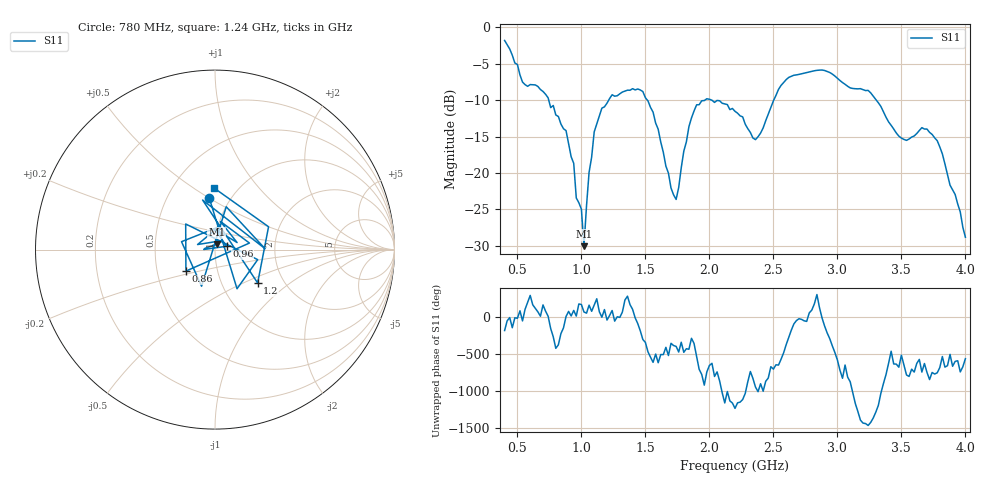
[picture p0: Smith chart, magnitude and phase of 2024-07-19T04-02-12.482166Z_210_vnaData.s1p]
!Created with skrf (http://scikit-rf.org).
# Hz S RI R 50.0
!freq ReS11 ImS11
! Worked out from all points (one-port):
!   181 points, 400 MHz to 4 GHz, reference 50 ohm
!   lowest |S11| = -30.1 dB at 1.02 GHz (marker M1), VSWR 1.06, Z = 50.9 + j3.03 ohm
!   |S11| at or under -10 dB: 744.9 MHz to 1.213 GHz (468.1 MHz wide, 47.8 % of centre); 2.02 GHz to 2.502 GHz (482.9 MHz wide, 21.4 % of centre); 3.305 GHz to end of sweep (the widest 3 of 4)
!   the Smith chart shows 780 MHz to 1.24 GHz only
!   S11 on the Smith chart (normalised r, x): 780 MHz: 0.80, +0.50; 860 MHz: 0.70, -0.18; 960 MHz: 1.14, +0.04; 1.2 GHz: 1.48, -0.60; 1.24 GHz: 0.78, +0.61
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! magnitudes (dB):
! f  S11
! 400 MHz  -1.8
! 540 MHz  -7.5
! 780 MHz  -10.7
! 860 MHz  -13.9
! 940 MHz  -18.7
! 960 MHz  -23.4
! 1 GHz  -25.0
! 1.02 GHz  -30.1
! 1.06 GHz  -19.9
! 1.1 GHz  -14.4
! 1.2 GHz  -10.4
! 1.24 GHz  -9.3
! 1.3 GHz  -9.1
! 1.48 GHz  -8.8
! 1.6 GHz  -14.0
! 1.7 GHz  -22.1
! 1.76 GHz  -22.0
! 1.84 GHz  -13.6
! 1.9 GHz  -10.6
! 2.2 GHz  -11.5
! 2.36 GHz  -15.4
! 2.66 GHz  -6.6
! 3.1 GHz  -8.3
! 3.24 GHz  -8.7
! 3.56 GHz  -15.3
! 3.66 GHz  -13.8
! 3.78 GHz  -15.6
! 4 GHz  -28.8
